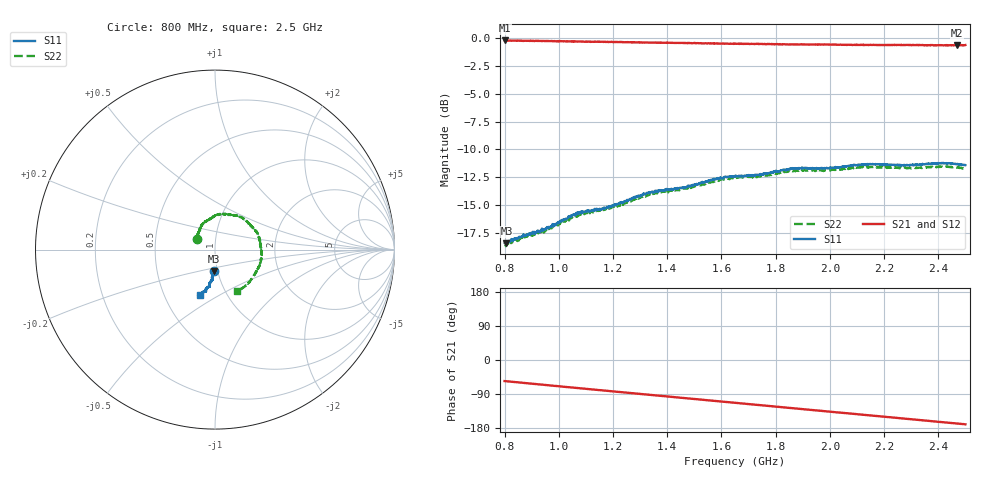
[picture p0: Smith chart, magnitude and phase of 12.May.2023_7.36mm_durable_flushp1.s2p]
!Keysight Technologies N9950B: A.12.38
!Date: Friday, 12 May 2023 16:36:27
!Timezone: (UTC-06:00) Central Time (US & Canada)
!Model: N9950B
!Serial: MY61131330
!GPS Latitude:
!GPS Longitude:
!GPS TimeStamp: 0001-01-01 00:00:00Z
!GPS Seconds Since Last Read: 0
!CHECKSUM:1997282899
!Correction: S11(ON U)S21(ON U)S12(ON U)S22(ON U)
!S2P File: Measurements:S11,S21,S12,S22:
# Hz S DB R 50
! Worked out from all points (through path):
!   1001 points, 800 MHz to 2.5 GHz, reference 50 ohm
!   highest |S21| = -0.20 dB at 801.7 MHz (marker M1); lowest = -0.6 dB at 2.469 GHz (marker M2)
!   group delay of S21, straight-line fit = 186 ps
!   lowest |S11| = -18.5 dB at 806.8 MHz (marker M3), VSWR 1.27, Z = 47.8 - j11.5 ohm
!   |S11| at or under -10 dB: start of sweep to end of sweep
!   |S22| runs from -18.7 to -11.5 dB; largest |S21 - S12| = 0.0064
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8e8  -18.44 -93.6  -0.21 -55.6  -0.24 -55.6  -18.71 149.1
8.017e8  -18.36 -93.0  -0.20 -55.8  -0.23 -55.7  -18.69 149.0
8.068e8  -18.47 -94.0  -0.20 -56.1  -0.24 -56.0  -18.55 148.1
8.34e8  -18.11 -92.9  -0.22 -57.9  -0.23 -57.9  -18.31 144.8
9.343e8  -17.37 -94.1  -0.24 -64.9  -0.26 -64.8  -17.47 131.3
1.0839e9  -15.78 -95.1  -0.30 -75.0  -0.31 -75.1  -15.83 112.6
1.157e9  -15.36 -95.3  -0.32 -79.9  -0.34 -80.0  -15.52 103.2
1.2233e9  -14.84 -97.3  -0.35 -84.4  -0.37 -84.5  -15.00 96.1
1.3202e9  -14.02 -99.1  -0.38 -91.1  -0.40 -91.0  -14.26 84.5
1.3678e9  -13.81 -98.4  -0.41 -94.1  -0.42 -94.1  -13.93 78.8
1.4987e9  -13.18 -101.6  -0.43 -103.0  -0.47 -103.0  -13.37 64.4
1.5803e9  -12.69 -102.7  -0.47 -108.5  -0.50 -108.5  -12.84 54.2
1.65e9  -12.45 -102.8  -0.48 -113.1  -0.54 -113.0  -12.57 45.6
1.7452e9  -12.24 -105.2  -0.51 -119.4  -0.52 -119.4  -12.37 35.0
1.8098e9  -12.00 -106.4  -0.55 -123.8  -0.56 -123.7  -12.14 27.5
1.8659e9  -11.70 -106.1  -0.55 -127.5  -0.59 -127.4  -11.96 20.7
1.9339e9  -11.70 -106.4  -0.56 -132.0  -0.58 -131.9  -11.91 11.6
2.1124e9  -11.43 -109.3  -0.60 -143.9  -0.63 -143.8  -11.59 -9.3
2.2178e9  -11.39 -108.7  -0.61 -150.8  -0.63 -150.7  -11.62 -23.4
2.3691e9  -11.32 -110.1  -0.64 -161.0  -0.64 -161.0  -11.60 -42.6
2.4694e9  -11.34 -108.4  -0.65 -167.7  -0.66 -167.6  -11.66 -57.5
2.5e9  -11.42 -108.3  -0.61 -169.7  -0.65 -169.7  -11.68 -61.9
